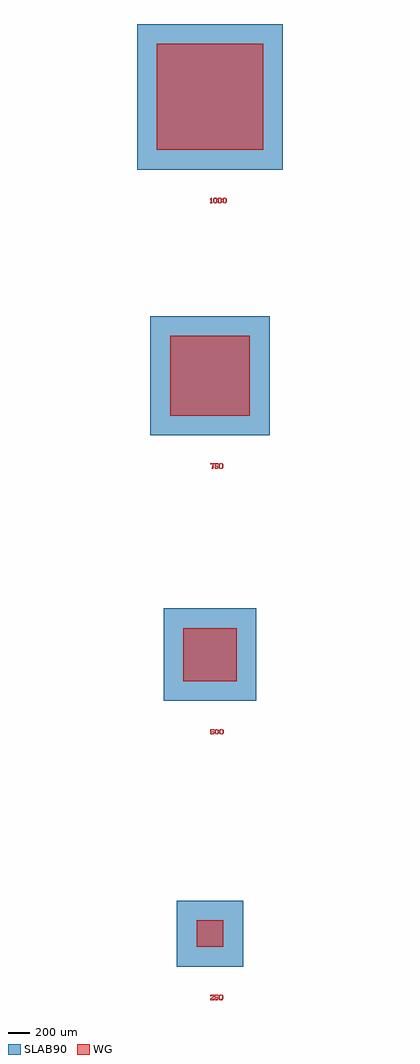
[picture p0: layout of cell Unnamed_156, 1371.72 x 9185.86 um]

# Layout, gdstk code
import gdstk
lib = gdstk.Library(unit=1e-6, precision=1e-09)
def R(c, l, rs):  # rectangles x0, y0, x1, y1
    for r in rs: c.add(gdstk.rectangle(r[:2], r[2:], *l))
def P(c, l, *ps):  # polygons
    for p in ps: c.add(gdstk.Polygon(p, *l))
WG = (1, 0)
SLAB90 = (3, 0)

text_t1000_s50_p0_0_jlef = lib.new_cell('text_T1000_S50_P0_0_Jleft_L1_0')
P(text_t1000_s50_p0_0_jlef, WG, [(48.5,0),(51,10),(55,10),(60,15),(60,35),(55,40),(57.5,50),(60,50),(70,40),(70,10),(60,0)],
  [(93.5,0),(96,10),(100,10),(105,15),(105,35),(100,40),(102.5,50),(105,50),(115,40),(115,10),(105,0)],
  [(138.5,0),(141,10),(145,10),(150,15),(150,35),(145,40),(147.5,50),(150,50),(160,40),(160,10),(150,0)],
  [(40,0),(30,10),(30,40),(40,50),(51.5,50),(49,40),(45,40),(40,35),(40,15),(45,10),(42.5,0)],
  [(85,0),(75,10),(75,40),(85,50),(96.5,50),(94,40),(90,40),(85,35),(85,15),(90,10),(87.5,0)],
  [(130,0),(120,10),(120,40),(130,50),(141.5,50),(139,40),(135,40),(130,35),(130,15),(135,10),(132.5,0)],
  [(5,0),(5,10),(10,10),(10,30),(5,30),(5,40),(15,50),(20,50),(20,10),(25,10),(25,0)])

rectangle_s1121p72_1121_ = lib.new_cell('rectangle_S1121p72_1121_35d847ae')
R(rectangle_s1121p72_1121_, SLAB90, [(0,0,1121.72,1121.72)])

unnamed_165 = lib.new_cell('Unnamed_165')
unnamed_165.add(gdstk.Reference(rectangle_s1121p72_1121_, (-559.36,-185.86)))

unnamed_164 = lib.new_cell('Unnamed_164')
R(unnamed_164, WG, [(-373.5,0,0,750), (3,0,376.5,750)])
unnamed_164.add(gdstk.Reference(unnamed_165, (0,0)))

rectangle_s1371p72_1371_ = lib.new_cell('rectangle_S1371p72_1371_f5a3a8c9')
R(rectangle_s1371p72_1371_, SLAB90, [(0,0,1371.72,1371.72)])

unnamed_168 = lib.new_cell('Unnamed_168')
unnamed_168.add(gdstk.Reference(rectangle_s1371p72_1371_, (-684.36,-185.86)))

unnamed_167 = lib.new_cell('Unnamed_167')
R(unnamed_167, WG, [(-498.5,0,0,1000), (3,0,501.5,1000)])
unnamed_167.add(gdstk.Reference(unnamed_168, (0,0)))

text_t750_s50_p0_0_jleft = lib.new_cell('text_T750_S50_P0_0_Jleft_L1_0')
P(text_t750_s50_p0_0_jleft, WG, [(95,0),(85,10),(85,40),(95,50),(106.5,50),(104,40),(100,40),(95,35),(95,15),(100,10),(97.5,0)],
  [(50,0),(45,5),(45,15),(55,15),(55,10),(70,10),(70,20),(50,20),(45,25),(45,50),(80,50),(80,40),(55,40),(55,30),(75,30),(80,25),(80,5),(75,0)],
  [(103.5,0),(106,10),(110,10),(115,15),(115,35),(110,40),(112.5,50),(115,50),(125,40),(125,10),(115,0)],
  [(20,0),(28,40),(5,40),(5,50),(40,50),(30,0)])

text_t500_s50_p0_0_jleft = lib.new_cell('text_T500_S50_P0_0_Jleft_L1_0')
P(text_t500_s50_p0_0_jleft, WG, [(63.5,0),(66,10),(70,10),(75,15),(75,35),(70,40),(72.5,50),(75,50),(85,40),(85,10),(75,0)],
  [(108.5,0),(111,10),(115,10),(120,15),(120,35),(115,40),(117.5,50),(120,50),(130,40),(130,10),(120,0)],
  [(55,0),(45,10),(45,40),(55,50),(66.5,50),(64,40),(60,40),(55,35),(55,15),(60,10),(57.5,0)],
  [(100,0),(90,10),(90,40),(100,50),(111.5,50),(109,40),(105,40),(100,35),(100,15),(105,10),(102.5,0)],
  [(10,0),(5,5),(5,15),(15,15),(15,10),(30,10),(30,20),(10,20),(5,25),(5,50),(40,50),(40,40),(15,40),(15,30),(35,30),(40,25),(40,5),(35,0)])

rectangle_s621p72_621p7_ = lib.new_cell('rectangle_S621p72_621p7_074833c5')
R(rectangle_s621p72_621p7_, SLAB90, [(0,0,621.72,621.72)])

unnamed_159 = lib.new_cell('Unnamed_159')
unnamed_159.add(gdstk.Reference(rectangle_s621p72_621p7_, (-309.36,-185.86)))

unnamed_158 = lib.new_cell('Unnamed_158')
R(unnamed_158, WG, [(-123.5,0,0,250), (3,0,126.5,250)])
unnamed_158.add(gdstk.Reference(unnamed_159, (0,0)))

rectangle_s871p72_871p7_ = lib.new_cell('rectangle_S871p72_871p7_6941abd5')
R(rectangle_s871p72_871p7_, SLAB90, [(0,0,871.72,871.72)])

unnamed_162 = lib.new_cell('Unnamed_162')
unnamed_162.add(gdstk.Reference(rectangle_s871p72_871p7_, (-434.36,-185.86)))

unnamed_161 = lib.new_cell('Unnamed_161')
R(unnamed_161, WG, [(-248.5,0,0,500), (3,0,251.5,500)])
unnamed_161.add(gdstk.Reference(unnamed_162, (0,0)))

text_t250_s50_p0_0_jleft = lib.new_cell('text_T250_S50_P0_0_Jleft_L1_0')
P(text_t250_s50_p0_0_jleft, WG, [(95,0),(85,10),(85,40),(95,50),(106.5,50),(104,40),(100,40),(95,35),(95,15),(100,10),(97.5,0)],
  [(50,0),(45,5),(45,15),(55,15),(55,10),(70,10),(70,20),(50,20),(45,25),(45,50),(80,50),(80,40),(55,40),(55,30),(75,30),(80,25),(80,5),(75,0)],
  [(103.5,0),(106,10),(110,10),(115,15),(115,35),(110,40),(112.5,50),(115,50),(125,40),(125,10),(115,0)],
  [(5,0),(5,10),(30,35),(30,40),(15,40),(15,35),(5,35),(5,45),(10,50),(35,50),(40,45),(40,30),(20,10),(40,10),(40,0)])

unnamed_156 = lib.new_cell('Unnamed_156')
unnamed_156.add(gdstk.Reference(text_t1000_s50_p0_0_jlef, (0,7000)))
unnamed_156.add(gdstk.Reference(unnamed_164, (0,5000)))
unnamed_156.add(gdstk.Reference(unnamed_167, (0,7500)))
unnamed_156.add(gdstk.Reference(text_t750_s50_p0_0_jleft, (0,4500)))
unnamed_156.add(gdstk.Reference(text_t500_s50_p0_0_jleft, (0,2000)))
unnamed_156.add(gdstk.Reference(unnamed_158, (0,0)))
unnamed_156.add(gdstk.Reference(unnamed_161, (0,2500)))
unnamed_156.add(gdstk.Reference(text_t250_s50_p0_0_jleft, (0,-500)))

lib.write_gds('Unnamed_156.gds')
